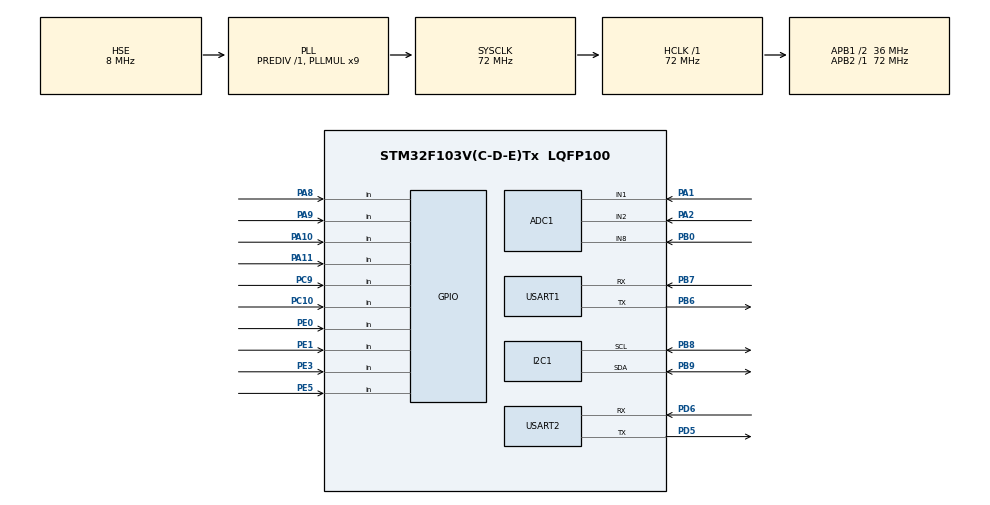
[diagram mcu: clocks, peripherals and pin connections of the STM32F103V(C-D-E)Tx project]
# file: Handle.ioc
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ADC1.Channel-0\#ChannelRegularConversion=ADC_CHANNEL_1
ADC1.Channel-1\#ChannelRegularConversion=ADC_CHANNEL_2
ADC1.Channel-2\#ChannelRegularConversion=ADC_CHANNEL_8
ADC1.ContinuousConvMode=ENABLE
ADC1.NbrOfConversion=3
ADC1.NbrOfConversionFlag=1
ADC1.Rank-0\#ChannelRegularConversion=1
ADC1.Rank-1\#ChannelRegularConversion=2
ADC1.Rank-2\#ChannelRegularConversion=3
ADC1.SamplingTime-0\#ChannelRegularConversion=ADC_SAMPLETIME_13CYCLES_5
ADC1.SamplingTime-1\#ChannelRegularConversion=ADC_SAMPLETIME_13CYCLES_5
ADC1.SamplingTime-2\#ChannelRegularConversion=ADC_SAMPLETIME_13CYCLES_5
ADC1.master=1
Dma.ADC1.0.Direction=DMA_PERIPH_TO_MEMORY
Dma.ADC1.0.Instance=DMA1_Channel1
Dma.ADC1.0.MemDataAlignment=DMA_MDATAALIGN_HALFWORD
Dma.ADC1.0.MemInc=DMA_MINC_ENABLE
Dma.ADC1.0.Mode=DMA_CIRCULAR
Dma.ADC1.0.PeriphDataAlignment=DMA_PDATAALIGN_HALFWORD
Dma.ADC1.0.PeriphInc=DMA_PINC_DISABLE
Dma.ADC1.0.Priority=DMA_PRIORITY_LOW
Dma.Request0=ADC1
Dma.Request1=USART1_RX
Dma.Request2=USART1_TX
Dma.Request3=USART2_RX
Dma.Request4=USART2_TX
Dma.USART1_RX.1.Direction=DMA_PERIPH_TO_MEMORY
Dma.USART1_RX.1.Instance=DMA1_Channel5
Dma.USART1_RX.1.MemDataAlignment=DMA_MDATAALIGN_BYTE
Dma.USART1_RX.1.MemInc=DMA_MINC_ENABLE
Dma.USART1_RX.1.Mode=DMA_NORMAL
Dma.USART1_RX.1.PeriphDataAlignment=DMA_PDATAALIGN_BYTE
Dma.USART1_RX.1.PeriphInc=DMA_PINC_DISABLE
Dma.USART1_RX.1.Priority=DMA_PRIORITY_LOW
Dma.USART1_TX.2.Direction=DMA_MEMORY_TO_PERIPH
Dma.USART1_TX.2.Instance=DMA1_Channel4
Dma.USART1_TX.2.MemDataAlignment=DMA_MDATAALIGN_BYTE
Dma.USART1_TX.2.MemInc=DMA_MINC_ENABLE
Dma.USART1_TX.2.Mode=DMA_NORMAL
Dma.USART1_TX.2.PeriphDataAlignment=DMA_PDATAALIGN_BYTE
Dma.USART1_TX.2.PeriphInc=DMA_PINC_DISABLE
Dma.USART1_TX.2.Priority=DMA_PRIORITY_LOW
Dma.USART2_RX.3.Direction=DMA_PERIPH_TO_MEMORY
Dma.USART2_RX.3.Instance=DMA1_Channel6
Dma.USART2_RX.3.MemDataAlignment=DMA_MDATAALIGN_BYTE
Dma.USART2_RX.3.MemInc=DMA_MINC_ENABLE
Dma.USART2_RX.3.Mode=DMA_NORMAL
Dma.USART2_RX.3.PeriphDataAlignment=DMA_PDATAALIGN_BYTE
Dma.USART2_RX.3.PeriphInc=DMA_PINC_DISABLE
Dma.USART2_RX.3.Priority=DMA_PRIORITY_LOW
Dma.USART2_TX.4.Direction=DMA_MEMORY_TO_PERIPH
Dma.USART2_TX.4.Instance=DMA1_Channel7
Dma.USART2_TX.4.MemDataAlignment=DMA_MDATAALIGN_BYTE
Dma.USART2_TX.4.MemInc=DMA_MINC_ENABLE
Dma.USART2_TX.4.Mode=DMA_NORMAL
Dma.USART2_TX.4.PeriphDataAlignment=DMA_PDATAALIGN_BYTE
Dma.USART2_TX.4.PeriphInc=DMA_PINC_DISABLE
Dma.USART2_TX.4.Priority=DMA_PRIORITY_LOW
Mcu.Family=STM32F1
Mcu.Name=STM32F103V(C-D-E)Tx
Mcu.Package=LQFP100
NVIC.ADC1_2_IRQn=true\:0\:0\:false\:false\:true\:true\:true\:true
NVIC.DMA1_Channel1_IRQn=true\:0\:0\:false\:false\:true\:false\:true\:true
NVIC.DMA1_Channel4_IRQn=true\:0\:0\:false\:false\:true\:false\:true\:true
NVIC.DMA1_Channel5_IRQn=true\:0\:0\:false\:false\:true\:false\:true\:true
NVIC.DMA1_Channel6_IRQn=true\:0\:0\:false\:false\:true\:false\:true\:true
NVIC.DMA1_Channel7_IRQn=true\:0\:0\:false\:false\:true\:false\:true\:true
NVIC.PriorityGroup=NVIC_PRIORITYGROUP_4
NVIC.TIM1_UP_IRQn=true\:0\:0\:false\:false\:true\:true\:true\:true
NVIC.USART1_IRQn=true\:0\:0\:false\:false\:true\:false\:true\:true
NVIC.USART2_IRQn=true\:0\:0\:false\:false\:true\:false\:true\:true
OSC_IN.Mode=HSE-External-Oscillator
OSC_IN.Signal=RCC_OSC_IN
OSC_OUT.Mode=HSE-External-Oscillator
OSC_OUT.Signal=RCC_OSC_OUT
PA1.Signal=ADCx_IN1
PA10.GPIO_PuPd=GPIO_PULLUP
PA10.Signal=GPIO_Input
PA11.GPIO_PuPd=GPIO_PULLUP
PA11.Signal=GPIO_Input
PA13.Mode=Serial_Wire
PA13.Signal=SYS_JTMS-SWDIO
PA14.Mode=Serial_Wire
PA14.Signal=SYS_JTCK-SWCLK
PA2.Signal=ADCx_IN2
PA8.GPIO_PuPd=GPIO_PULLUP
PA8.Signal=GPIO_Input
PA9.GPIO_PuPd=GPIO_PULLUP
PA9.Signal=GPIO_Input
PB0.Signal=ADCx_IN8
PB6.Mode=Asynchronous
PB6.Signal=USART1_TX
PB7.Mode=Asynchronous
PB7.Signal=USART1_RX
PB8.Mode=I2C
PB8.Signal=I2C1_SCL
PB9.Mode=I2C
PB9.Signal=I2C1_SDA
PC10.GPIO_PuPd=GPIO_PULLUP
PC10.Signal=GPIO_Input
PC14-OSC32_IN.Mode=LSE-External-Oscillator
PC14-OSC32_IN.Signal=RCC_OSC32_IN
PC15-OSC32_OUT.Mode=LSE-External-Oscillator
PC15-OSC32_OUT.Signal=RCC_OSC32_OUT
PC9.GPIO_PuPd=GPIO_PULLUP
PC9.Signal=GPIO_Input
PD5.Mode=Asynchronous
PD5.Signal=USART2_TX
PD6.Mode=Asynchronous
PD6.Signal=USART2_RX
PE0.GPIO_PuPd=GPIO_PULLUP
PE0.Signal=GPIO_Input
PE1.GPIO_PuPd=GPIO_PULLDOWN
PE1.Signal=GPIO_Input
PE3.GPIO_PuPd=GPIO_PULLUP
PE3.Signal=GPIO_Input
PE5.GPIO_PuPd=GPIO_PULLUP
PE5.Signal=GPIO_Input
ProjectManager.HeapSize=0x200
ProjectManager.StackSize=0x400
ProjectManager.TargetToolchain=MDK-ARM V5
RCC.ADCPresc=RCC_ADCPCLK2_DIV6
RCC.AHBFreq_Value=72000000
RCC.APB1CLKDivider=RCC_HCLK_DIV2
RCC.APB1Freq_Value=36000000
RCC.APB1TimFreq_Value=72000000
RCC.APB2Freq_Value=72000000
RCC.APB2TimFreq_Value=72000000
RCC.HCLKFreq_Value=72000000
RCC.PLLMUL=RCC_PLL_MUL9
RCC.PLLSourceVirtual=RCC_PLLSOURCE_HSE
RCC.SYSCLKFreq_VALUE=72000000
RCC.SYSCLKSource=RCC_SYSCLKSOURCE_PLLCLK
RCC.USBFreq_Value=72000000
SH.ADCx_IN1.0=ADC1_IN1,IN1
SH.ADCx_IN2.0=ADC1_IN2,IN2
SH.ADCx_IN8.0=ADC1_IN8,IN8
TIM1.Period=1000-1
TIM1.Prescaler=72-1
USART1.VirtualMode=VM_ASYNC
USART2.VirtualMode=VM_ASYNC
VP_TIM1_VS_ClockSourceINT.Mode=Internal
board=custom

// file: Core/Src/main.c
/* USER CODE BEGIN Header */
/**
  ******************************************************************************
  * @file           : main.c
  * @brief          : Main program body
  ******************************************************************************
  * @attention
  *
  * Copyright (c) 2026 STMicroelectronics.
  * All rights reserved.
  *
  * This software is licensed under terms that can be found in the LICENSE file
  * in the root directory of this software component.
  * If no LICENSE file comes with this software, it is provided AS-IS.
  *
  ******************************************************************************
  */
/* USER CODE END Header */
#include "main.h"
#include "adc.h"
#include "dma.h"
#include "i2c.h"
#include "tim.h"
#include "usart.h"
#include "gpio.h"

/* USER CODE BEGIN Includes */
#include "zigbee.h"
#include "process.h"
#include "font.h"
#include "oled.h"
/* USER CODE END Includes */

/* USER CODE BEGIN PV */
static ZigbeeHandle_TypeDef g_zigbee;
static SendData_t g_handle_data;
static ZigbeeData_TypeDef g_zigbee_data;
volatile HAL_StatusTypeDef tx_status = HAL_ERROR;
/* USER CODE END PV */

void SystemClock_Config(void);

int main(void)
{

  /* MCU Configuration--------------------------------------------------------*/

  /* Reset of all peripherals, Initializes the Flash interface and the Systick. */
  HAL_Init();

  /* Configure the system clock */
  SystemClock_Config();

  /* Initialize all configured peripherals */
  MX_GPIO_Init();
  MX_DMA_Init();
  MX_ADC1_Init();
  MX_USART1_UART_Init();
  MX_TIM1_Init();
  MX_USART2_UART_Init();
  MX_I2C1_Init();
  /* USER CODE BEGIN 2 */
  Handle_Init();
  if (Zigbee_Init(&g_zigbee) != HAL_OK)
  {
    Error_Handler();
  }

	OLED_Init();

	OLED_NewFrame();
	OLED_PrintString(5, 0,"stop  mode grip", &font16x16, OLED_COLOR_NORMAL);
	OLED_PrintString(5, 20,"pFlip up   forw", &font16x16, OLED_COLOR_NORMAL);
	OLED_PrintString(5, 40,"nFlip down bFor", &font16x16, OLED_COLOR_NORMAL);
	OLED_ShowFrame();

  /* USER CODE END 2 */

  /* Infinite loop */
  /* USER CODE BEGIN WHILE */
  while (1)
  {
		static uint32_t last_process_tick = 0U;
    uint32_t now = HAL_GetTick();

    /* 50 Hz ????(20 ms):?? ADC/??????? ZigBee ??? */
    if ((uint32_t)(now - last_process_tick) >= 20U)
    {
      last_process_tick = now;
      HandleOrderProcess(&g_handle_data);

      /* ?????????? ZigBee ????????? 0.001 ??? */
      g_zigbee_data.chassis.speed_vx = g_handle_data.ChassisData.chassis_vx;
      g_zigbee_data.chassis.speed_vy = g_handle_data.ChassisData.chassis_vy;
      g_zigbee_data.chassis.omega = g_handle_data.ChassisData.chassis_omega;
      g_zigbee_data.joint.front_back = g_handle_data.ArmData.joint_front_back;
      g_zigbee_data.joint.up_down = g_handle_data.ArmData.joint_up_down;
      g_zigbee_data.joint.flip = g_handle_data.ArmData.joint_flip;
      g_zigbee_data.command.grab = g_handle_data.ArmData.arm_grip;
      g_zigbee_data.command.emergency_stop = g_handle_data.ArmData.emergency_stop;
      g_zigbee_data.command.mode = g_handle_data.ArmData.mode;

      tx_status = Zigbee_Send(&g_zigbee, &g_zigbee_data);
      Zigbee_ErrorHandler(&g_zigbee);
		}
    /* USER CODE END WHILE */

  }
}

void SystemClock_Config(void)
{
  RCC_OscInitTypeDef RCC_OscInitStruct = {0};
  RCC_ClkInitTypeDef RCC_ClkInitStruct = {0};
  RCC_PeriphCLKInitTypeDef PeriphClkInit = {0};

  /** Initializes the RCC Oscillators according to the specified parameters
  * in the RCC_OscInitTypeDef structure.
  */
  RCC_OscInitStruct.OscillatorType = RCC_OSCILLATORTYPE_HSE;
  RCC_OscInitStruct.HSEState = RCC_HSE_ON;
  RCC_OscInitStruct.HSEPredivValue = RCC_HSE_PREDIV_DIV1;
  RCC_OscInitStruct.HSIState = RCC_HSI_ON;
  RCC_OscInitStruct.PLL.PLLState = RCC_PLL_ON;
  RCC_OscInitStruct.PLL.PLLSource = RCC_PLLSOURCE_HSE;
  RCC_OscInitStruct.PLL.PLLMUL = RCC_PLL_MUL9;
  if (HAL_RCC_OscConfig(&RCC_OscInitStruct) != HAL_OK)
  {
    Error_Handler();
  }

  /** Initializes the CPU, AHB and APB buses clocks
  */
  RCC_ClkInitStruct.ClockType = RCC_CLOCKTYPE_HCLK|RCC_CLOCKTYPE_SYSCLK
                              |RCC_CLOCKTYPE_PCLK1|RCC_CLOCKTYPE_PCLK2;
  RCC_ClkInitStruct.SYSCLKSource = RCC_SYSCLKSOURCE_PLLCLK;
  RCC_ClkInitStruct.AHBCLKDivider = RCC_SYSCLK_DIV1;
  RCC_ClkInitStruct.APB1CLKDivider = RCC_HCLK_DIV2;
  RCC_ClkInitStruct.APB2CLKDivider = RCC_HCLK_DIV1;

  if (HAL_RCC_ClockConfig(&RCC_ClkInitStruct, FLASH_LATENCY_2) != HAL_OK)
  {
    Error_Handler();
  }
  PeriphClkInit.PeriphClockSelection = RCC_PERIPHCLK_ADC;
  PeriphClkInit.AdcClockSelection = RCC_ADCPCLK2_DIV6;
  if (HAL_RCCEx_PeriphCLKConfig(&PeriphClkInit) != HAL_OK)
  {
    Error_Handler();
  }
}

void Error_Handler(void)
{
  __disable_irq();
  while (1)
  {
  }
}
